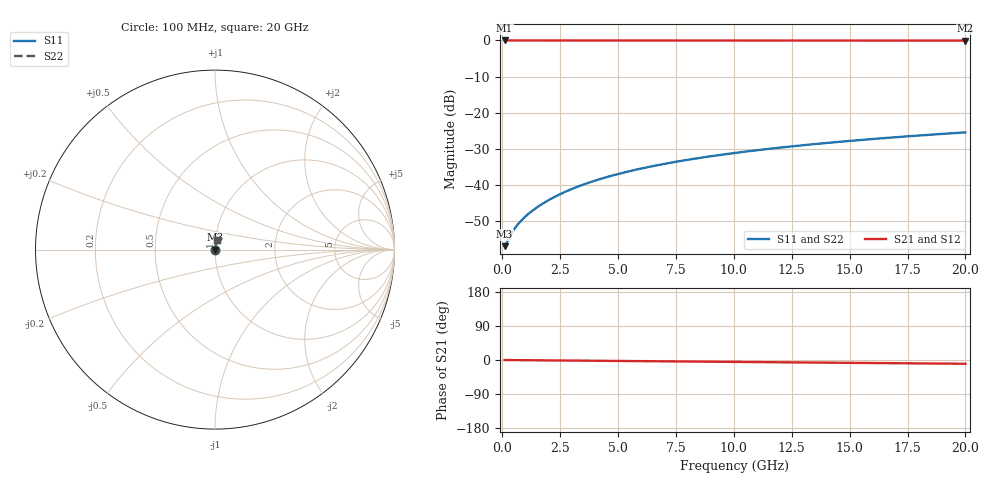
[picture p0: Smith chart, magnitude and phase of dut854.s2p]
! Touchstone file exported from HFSS 2026.1.0
!  File:  C:/ffzhzh/LocalFiles/Ansys_Project_Files/temp_train_BSMRDL_854_1783170618_51560.aedt
!  Generated:  09:11:30 PM Jul  4, 2026
!  Design:  BSMRDL
!  Project:  temp_train_BSMRDL_854_1783170618_51560
! Variables:
!  h_bsmrdl = 2.17um
!  h_ox = 20um
!  h_rdl = 5um
!  h_sub = 80um
!  h_tmrdl = 5um
!  h_tsv = 80um
!  h_via = 3um
!  l_bsmrdl = 146.64um
!  l_sub = 546.64um
!  l_tmrdl = 200um
!  m_sub = 200um
!  pitch = 33.62um
!  r_tsv = 6um
!  s_tmrdl = 10um
!  w_bsmrdl = 25.65um
!  w_sub = 500um
!  w_tmrdl = 12um
!  x_tsv_center1 = 206um
!  x_tsv_center2 = 378.29um
!  x_tsv_center3 = 590.29um
!  x_tsv_center4 = 762.58um
!  x_tsv_center5 = 974.58um
!  x_tsv_center6 = 1146.87um
# GHz S MA R 50.000000
! Terminal data exported
! Port[1] = BSM_RDL1_1_T1
! Port[2] = BSM_RDL1_1_T2
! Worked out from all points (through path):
!   200 points, 100 MHz to 20 GHz, reference 50 ohm
!   highest |S21| = -0.01 dB at 100 MHz (marker M1); lowest = -0.1 dB at 20 GHz (marker M2)
!   group delay of S21, straight-line fit = 1.38 ps
!   lowest |S11| = -56.9 dB at 100 MHz (marker M3), VSWR 1.00, Z = 50.1 + j0.0394 ohm
!   |S11| at or under -10 dB: start of sweep to end of sweep
!   |S22| runs from -56.9 to -25.4 dB; largest |S21 - S12| = 2.2e-15
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0.1  0.001427 16.0  0.9986 -0.1  0.9986 -0.1  0.001427 16.0
! Gamma 0 0 0 0
! Port Impedance 50 0 50 0
0.2  0.001616 28.5  0.9986 -0.1  0.9986 -0.1  0.001616 28.5
0.4  0.002139 42.8  0.9984 -0.2  0.9984 -0.2  0.002139 42.8
0.5  0.002411 46.9  0.9984 -0.3  0.9984 -0.3  0.002411 46.9
0.6  0.002676 50.0  0.9983 -0.3  0.9983 -0.3  0.002676 50.0
0.7  0.002933 52.6  0.9982 -0.4  0.9982 -0.4  0.002933 52.6
0.9  0.003432 56.7  0.9981 -0.5  0.9981 -0.5  0.003432 56.7
1.2  0.004168 61.3  0.998 -0.6  0.998 -0.6  0.004168 61.3
1.7  0.005414 66.8  0.9979 -0.9  0.9979 -0.9  0.005414 66.8
2.2  0.006698 70.5  0.9979 -1.1  0.9979 -1.1  0.006698 70.5
2.8  0.008276 73.4  0.9978 -1.4  0.9978 -1.4  0.008276 73.4
3.5  0.01015 75.5  0.9977 -1.8  0.9977 -1.8  0.01015 75.5
4.2  0.01203 76.9  0.9976 -2.1  0.9976 -2.1  0.01203 76.9
5  0.0142 77.8  0.9975 -2.5  0.9975 -2.5  0.0142 77.8
5.9  0.01664 78.5  0.9974 -3.0  0.9974 -3.0  0.01664 78.5
6.8  0.01907 78.8  0.9972 -3.4  0.9972 -3.4  0.01907 78.8
8.3  0.02311 78.9  0.997 -4.2  0.997 -4.2  0.02311 78.9
10.1  0.02791 78.7  0.9966 -5.1  0.9966 -5.1  0.02791 78.7
11.7  0.03214 78.3  0.9962 -5.9  0.9962 -5.9  0.03214 78.3
13.4  0.03659 77.8  0.9958 -6.7  0.9958 -6.7  0.03659 77.8
16.7  0.04512 76.5  0.995 -8.3  0.995 -8.3  0.04512 76.5
20  0.05348 75.2  0.994 -10.0  0.994 -10.0  0.05348 75.2
